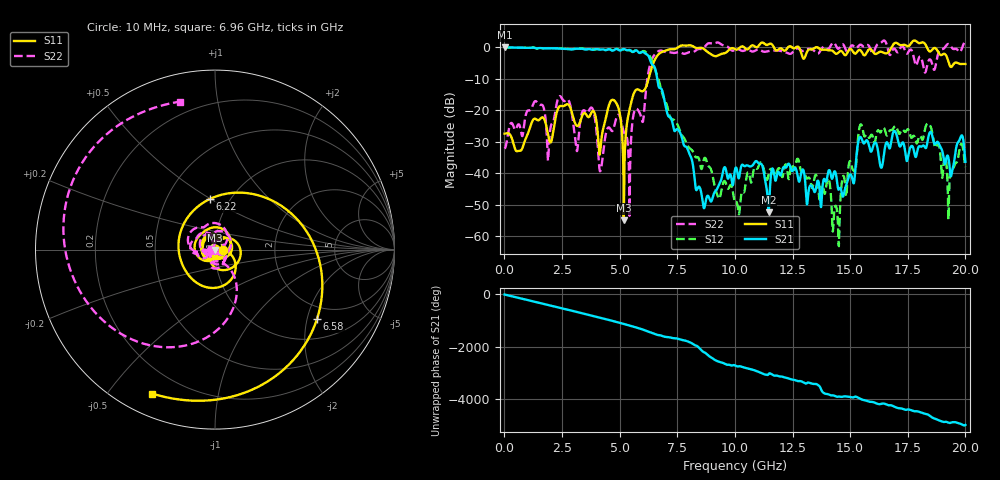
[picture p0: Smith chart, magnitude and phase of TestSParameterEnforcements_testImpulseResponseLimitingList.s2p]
! File created by SignalIntegrity v1.1.3: Signal and Power Integrity Tools
! https://github.com/TeledyneLeCroy/SignalIntegrity
# MHz MA S R 50.0
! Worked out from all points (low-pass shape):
!   2000 points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, 10 MHz to 20 GHz, reference 50 ohm
!   highest |S21| = 0.00 dB at 10 MHz (marker M1); lowest = -52.4 dB at 11.46 GHz (marker M2)
!   |S21| within 3 dB of the highest: start of sweep to 6.265 GHz
!   lowest |S11| = -54.9 dB at 5.18 GHz (marker M3), VSWR 1.00, Z = 49.9 - j0.135 ohm
!   |S11| at or under -10 dB: start of sweep to 6.256 GHz
!   |S22| runs from -53.5 to 2.1 dB; largest |S21 - S12| = 0.11
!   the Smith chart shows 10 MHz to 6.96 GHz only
!   S11 on the Smith chart (normalised r, x): 10 MHz: 1.09, -0.01; 6.22 GHz: 0.81, +0.50; 6.58 GHz: 1.58, -2.30; 6.96 GHz: 0.10, -0.65
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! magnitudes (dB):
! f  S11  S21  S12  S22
! 10 MHz  -27.4  0.0  0.0  -32.2
! 1.34 GHz  -22.7  -0.3  -0.3  -17.1
! 1.91 GHz  -28.3  -0.3  -0.3  -34.7
! 2.39 GHz  -18.8  -0.4  -0.4  -15.5
! 3.35 GHz  -22.3  -0.5  -0.4  -21.2
! 3.84 GHz  -20.2  -0.8  -0.7  -19.8
! 4.18 GHz  -31.3  -0.8  -0.7  -39.0
! 4.77 GHz  -16.9  -0.8  -0.7  -24.9
! 5.18 GHz  -54.9  -0.6  -0.7  -26.9
! 5.43 GHz  -19.8  -0.9  -0.9  -53.5
! 6.22 GHz  -10.9  -2.5  -2.1  -9.2
! 6.58 GHz  -3.3  -7.9  -8.1  -1.8
! 6.68 GHz  -2.3  -12.1  -10.2  -1.3
! 6.96 GHz  -1.2  -17.5  -16.8  -1.4
! 8.65 GHz  -0.5  -51.0  -35.7  -0.2
! 10.01 GHz  -0.6  -38.7  -49.3  -0.8
! 11.46 GHz  0.9  -52.4  -40.6  -1.2
! 13.34 GHz  -0.7  -44.2  -44.6  -0.7
! 14.47 GHz  -1.8  -44.7  -56.0  -0.5
! 15.45 GHz  -1.0  -28.5  -24.5  0.8
! 16.67 GHz  -1.5  -31.5  -27.1  -1.5
! 20 GHz  -5.3  -36.4  -38.0  1.7
